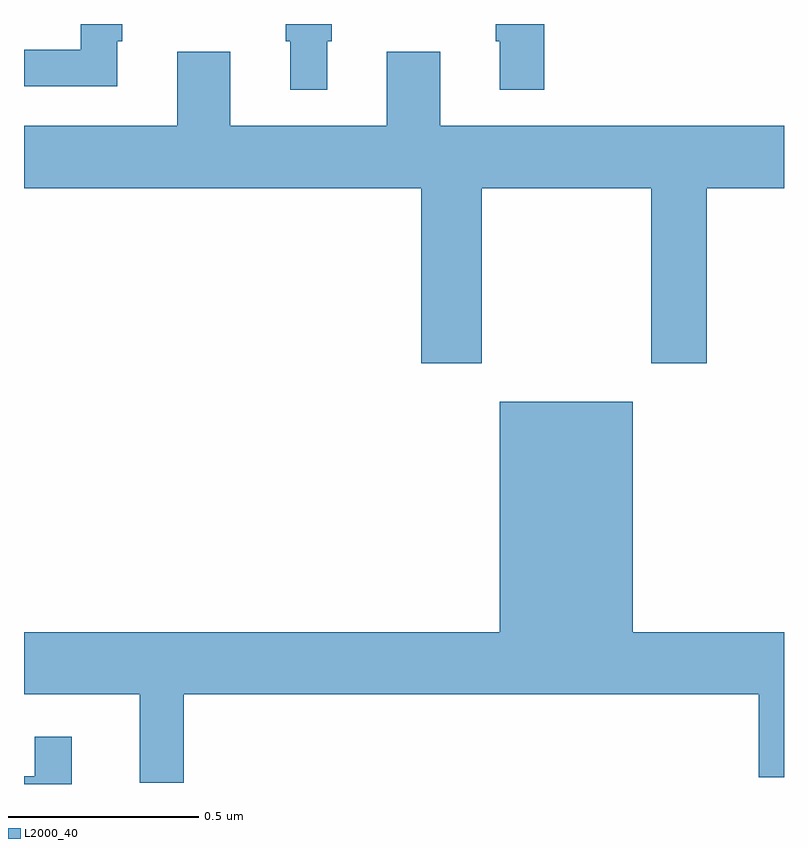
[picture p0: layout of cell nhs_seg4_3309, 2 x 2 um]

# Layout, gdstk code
import gdstk
lib = gdstk.Library(unit=1e-6, precision=1e-09)
def P(c, l, *ps):  # polygons
    for p in ps: c.add(gdstk.Polygon(p, *l))
L2000_40 = (2000, 40)

nhs_seg4_3309 = lib.new_cell('nhs_seg4_3309')
P(nhs_seg4_3309, L2000_40, [(151.246,815.855),(151.258,815.855),(151.258,815.9),(151.149,815.9),(151.149,815.832),(151,815.832),(151,815.736),(151.246,815.736)],
  [(151.798,815.855),(151.81,815.855),(151.81,815.9),(151.689,815.9),(151.689,815.855),(151.7,815.855),(151.7,815.727),(151.798,815.727)],
  [(152.369,815.9),(152.241,815.9),(152.241,815.855),(152.252,815.855),(152.252,815.727),(152.369,815.727)],
  [(152.205,815.468),(152.65,815.468),(152.65,815.007),(152.797,815.007),(152.797,815.468),(153,815.468),(153,815.632),(152.095,815.632),(152.095,815.827),(151.955,815.827),(151.955,815.632),(151.543,815.632),(151.543,815.827),(151.403,815.827),(151.403,815.632),(151,815.632),(151,815.468),(152.045,815.468),(152.045,815.007),(152.205,815.007)],
  [(151.421,814.136),(152.933,814.136),(152.933,813.918),(153,813.918),(153,814.3),(152.602,814.3),(152.602,814.906),(152.252,814.906),(152.252,814.3),(151,814.3),(151,814.136),(151.304,814.136),(151.304,813.903),(151.421,813.903)],
  [(151.125,814.024),(151.028,814.024),(151.028,813.921),(151,813.921),(151,813.9),(151.125,813.9)])

lib.write_gds('nhs_seg4_3309.gds')
